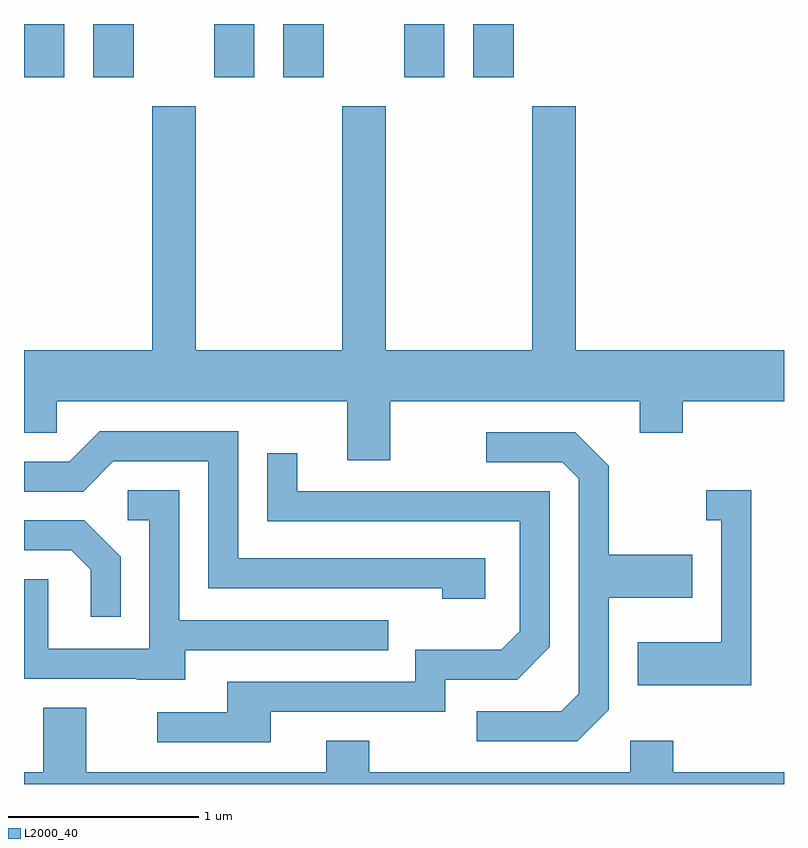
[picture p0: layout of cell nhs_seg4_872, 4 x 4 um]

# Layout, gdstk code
import gdstk
lib = gdstk.Library(unit=1e-6, precision=1e-09)
def R(c, l, rs):  # rectangles x0, y0, x1, y1
    for r in rs: c.add(gdstk.rectangle(r[:2], r[2:], *l))
def P(c, l, *ps):  # polygons
    for p in ps: c.add(gdstk.Polygon(p, *l))
L2000_40 = (2000, 40)

nhs_seg4_872 = lib.new_cell('nhs_seg4_872')
R(nhs_seg4_872, L2000_40, [(209.611,1369.701,209.824,1369.982), (209.976,1369.701,210.189,1369.982), (210.611,1369.701,210.824,1369.982), (210.976,1369.701,211.189,1369.982), (211.611,1369.701,211.824,1369.982), (211.976,1369.701,212.189,1369.982)])
P(nhs_seg4_872, L2000_40, [(211.539,1367.996),(212.851,1367.996),(212.851,1367.831),(213.079,1367.831),(213.079,1367.996),(213.611,1367.996),(213.611,1368.264),(212.514,1368.264),(212.514,1369.549),(212.286,1369.549),(212.286,1368.264),(211.514,1368.264),(211.514,1369.549),(211.286,1369.549),(211.286,1368.264),(210.514,1368.264),(210.514,1369.549),(210.286,1369.549),(210.286,1368.264),(209.611,1368.264),(209.611,1367.831),(209.784,1367.831),(209.784,1367.996),(211.311,1367.996),(211.311,1367.686),(211.539,1367.686)],
  [(212.039,1367.169),(210.739,1367.169),(210.739,1367.839),(210.009,1367.839),(209.849,1367.679),(209.611,1367.679),(209.611,1367.521),(209.922,1367.521),(210.082,1367.681),(210.581,1367.681),(210.581,1367.011),(211.811,1367.011),(211.811,1366.956),(212.039,1366.956)],
  [(212.689,1366.374),(212.689,1366.961),(213.129,1366.961),(213.129,1367.189),(212.689,1367.189),(212.689,1367.657),(212.512,1367.834),(212.043,1367.834),(212.043,1367.676),(212.444,1367.676),(212.531,1367.589),(212.531,1366.457),(212.439,1366.364),(211.993,1366.364),(211.993,1366.206),(212.522,1366.206)],
  [(210.909,1366.361),(211.829,1366.361),(211.829,1366.531),(212.207,1366.531),(212.379,1366.704),(212.379,1367.524),(211.049,1367.524),(211.049,1367.723),(210.891,1367.723),(210.891,1367.366),(212.221,1367.366),(212.221,1366.787),(212.124,1366.689),(211.671,1366.689),(211.671,1366.519),(210.681,1366.519),(210.681,1366.359),(210.313,1366.359),(210.313,1366.201),(210.909,1366.201)],
  [(213.439,1367.529),(213.203,1367.529),(213.203,1367.371),(213.281,1367.371),(213.281,1366.729),(212.841,1366.729),(212.841,1366.501),(213.439,1366.501)],
  [(210.459,1366.686),(211.528,1366.686),(211.528,1366.844),(210.429,1366.844),(210.429,1367.529),(210.158,1367.529),(210.158,1367.371),(210.271,1367.371),(210.271,1366.694),(209.739,1366.694),(209.739,1367.059),(209.611,1367.059),(209.611,1366.536),(210.205,1366.536),(210.205,1366.531),(210.459,1366.531)],
  [(210.119,1367.177),(209.927,1367.369),(209.611,1367.369),(209.611,1367.211),(209.859,1367.211),(209.961,1367.109),(209.961,1366.863),(210.119,1366.863)],
  [(213.611,1366.044),(213.029,1366.044),(213.029,1366.209),(212.801,1366.209),(212.801,1366.044),(211.429,1366.044),(211.429,1366.209),(211.201,1366.209),(211.201,1366.044),(209.939,1366.044),(209.939,1366.384),(209.711,1366.384),(209.711,1366.044),(209.611,1366.044),(209.611,1365.982),(213.611,1365.982)])

lib.write_gds('nhs_seg4_872.gds')
